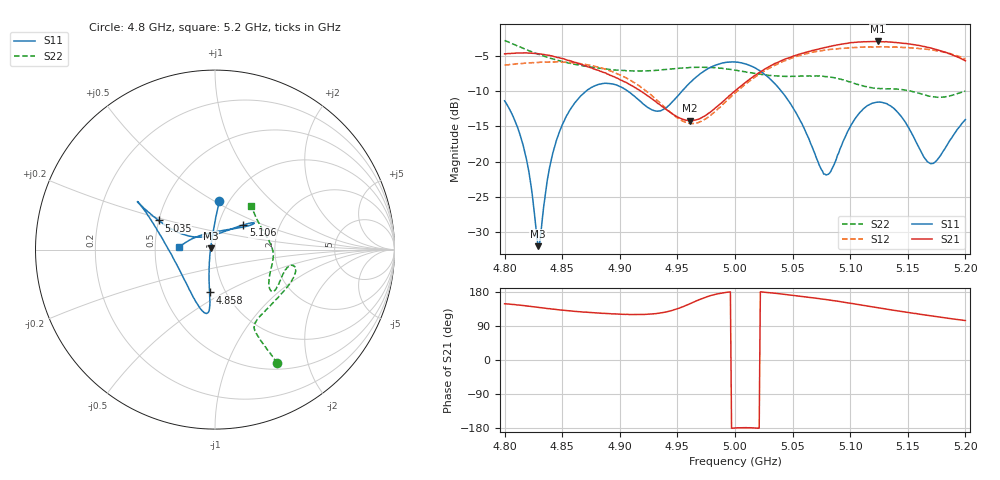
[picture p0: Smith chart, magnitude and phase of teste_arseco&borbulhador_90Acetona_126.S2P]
! Network Analyzer HP8722D
! Hewlett-Packard
! Data name: Linha & Wilkinson
! Saver's name: Rodrigo Anjos
! Comments: Teste da utilização de aquisição
! continua pelo VNA HP8722D
! Time and date: 17/4/2025 12:06
!  Frequency  S11  S21  S12  S22
# HZ  S  MA R 50
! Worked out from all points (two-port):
!   401 points, 4.8 GHz to 5.2 GHz, reference 50 ohm
!   highest |S21| = -2.97 dB at 5.124 GHz (marker M1); lowest = -14.2 dB at 4.961 GHz (marker M2)
!   |S21| within 3 dB of the highest: start of sweep to 4.862 GHz; 5.037 GHz to end of sweep
!   lowest |S11| = -32.0 dB at 4.829 GHz (marker M3), VSWR 1.05, Z = 47.7 + j0.77 ohm
!   |S11| at or under -10 dB: start of sweep to 4.871 GHz; 4.907 GHz to 4.954 GHz (47.3 MHz wide, 0.959 % of centre); 5.04 GHz to end of sweep
!   |S22| runs from -10.9 to -2.8 dB; largest |S21 - S12| = 1.3
!   S11 on the Smith chart (normalised r, x): 4.8 GHz: 0.90, +0.52; 4.858 GHz: 0.84, -0.43; 5.035 GHz: 0.50, +0.19; 5.106 GHz: 1.32, +0.38; 5.2 GHz: 0.67, +0.02
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4.8e9  0.2693 85.0  0.5799 148.3  0.4844 -112.7  0.7212 -61.2
4.817e9  0.1217 93.3  0.5883 143.4  0.4975 -112.4  0.6301 -62.3
4.822e9  0.0761 101.3  0.5865 141.7  0.5001 -112.0  0.6067 -62.7
4.829e9  0.0252 161.3  0.5813 138.9  0.5032 -111.7  0.5781 -63.1
4.831e9  0.02856 -158.1  0.5782 138.1  0.5048 -111.6  0.5699 -63.3
4.837e9  0.07344 -115.1  0.5677 135.7  0.5066 -111.3  0.5484 -63.5
4.842e9  0.1162 -106.6  0.5572 134.3  0.5072 -111.1  0.533 -63.7
4.858e9  0.2408 -97.2  0.5146 129.1  0.5026 -110.9  0.4936 -63.7
4.867e9  0.2966 -95.5  0.4869 126.8  0.4917 -111.4  0.4794 -62.8
4.898e9  0.3465 -102.2  0.3897 121.1  0.4182 -114.6  0.4449 -53.9
4.934e9  0.2285 -156.1  0.2557 123.4  0.2653 -114.9  0.4445 -33.6
4.961e9  0.3632 158.3  0.1946 148.6  0.1865 -88.6  0.4644 -19.9
5e9  0.5078 148.3  0.3167 -179.6  0.3062 -49.7  0.4443 -11.4
5.035e9  0.3539 152.7  0.4973 176.2  0.4839 -46.3  0.4053 -18.1
5.067e9  0.1272 146.9  0.6125 164.4  0.5955 -49.9  0.4044 -31.8
5.075e9  0.08787 124.9  0.6335 161.2  0.6112 -51.6  0.4031 -34.4
5.081e9  0.08142 95.7  0.6496 158.6  0.62 -52.7  0.3998 -35.8
5.106e9  0.2102 41.0  0.7015 146.9  0.6427 -58.7  0.3525 -31.9
5.124e9  0.2636 34.2  0.7104 137.9  0.6505 -64.1  0.3297 -18.7
5.134e9  0.2507 33.9  0.7032 133.0  0.648 -67.4  0.3275 -10.7
5.17e9  0.09672 99.6  0.6367 116.5  0.6192 -79.9  0.2897 20.1
5.2e9  0.1984 175.6  0.5176 104.1  0.533 -89.8  0.3153 50.3
